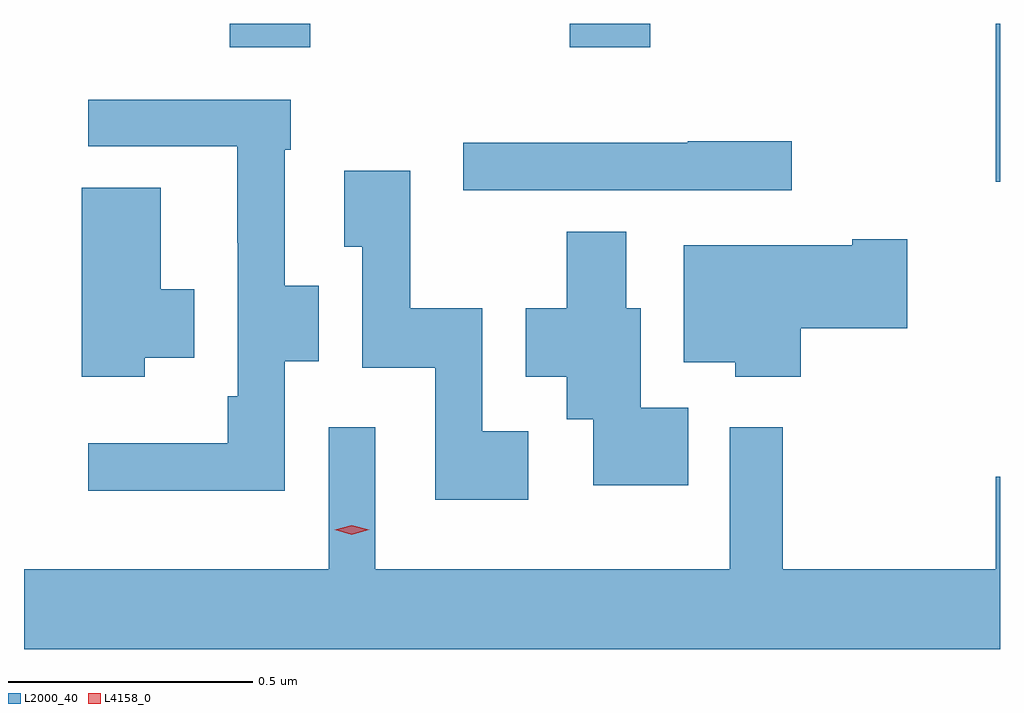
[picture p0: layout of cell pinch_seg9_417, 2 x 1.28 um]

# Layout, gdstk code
import gdstk
lib = gdstk.Library(unit=1e-6, precision=1e-09)
def R(c, l, rs):  # rectangles x0, y0, x1, y1
    for r in rs: c.add(gdstk.rectangle(r[:2], r[2:], *l))
def P(c, l, *ps):  # polygons
    for p in ps: c.add(gdstk.Polygon(p, *l))
L2000_40 = (2000, 40)
L4158_0 = (4158, 0)

pinch_seg9_417 = lib.new_cell('pinch_seg9_417')
R(pinch_seg9_417, L2000_40, [(368.804,1217.358,368.813,1217.681), (367.235,1217.633,367.4,1217.681), (367.931,1217.633,368.096,1217.681)])
P(pinch_seg9_417, L2000_40, [(367.347,1216.99),(367.417,1216.99),(367.417,1217.145),(367.347,1217.145),(367.347,1217.423),(367.36,1217.423),(367.36,1217.526),(366.945,1217.526),(366.945,1217.43),(367.25,1217.43),(367.25,1217.233),(367.251,1217.233),(367.251,1216.918),(367.231,1216.918),(367.231,1216.822),(366.945,1216.822),(366.945,1216.724),(367.347,1216.724)],
  [(368.386,1217.441),(368.173,1217.441),(368.173,1217.438),(367.713,1217.438),(367.713,1217.34),(368.386,1217.34)],
  [(367.846,1216.846),(367.752,1216.846),(367.752,1217.098),(367.605,1217.098),(367.605,1217.38),(367.469,1217.38),(367.469,1217.224),(367.506,1217.224),(367.506,1216.976),(367.656,1216.976),(367.656,1216.706),(367.846,1216.706)],
  [(367.06,1216.997),(367.162,1216.997),(367.162,1217.137),(367.093,1217.137),(367.093,1217.345),(366.931,1217.345),(366.931,1216.958),(367.06,1216.958)],
  [(368.174,1216.894),(368.077,1216.894),(368.077,1217.098),(368.047,1217.098),(368.047,1217.255),(367.925,1217.255),(367.925,1217.098),(367.841,1217.098),(367.841,1216.958),(367.925,1216.958),(367.925,1216.871),(367.98,1216.871),(367.98,1216.736),(368.174,1216.736)],
  [(368.405,1217.057),(368.623,1217.057),(368.623,1217.24),(368.51,1217.24),(368.51,1217.227),(368.165,1217.227),(368.165,1216.988),(368.27,1216.988),(368.27,1216.958),(368.405,1216.958)],
  [(368.813,1216.753),(368.804,1216.753),(368.804,1216.564),(368.368,1216.564),(368.368,1216.855),(368.259,1216.855),(368.259,1216.564),(367.533,1216.564),(367.533,1216.855),(367.437,1216.855),(367.437,1216.564),(366.813,1216.564),(366.813,1216.4),(368.813,1216.4)])
P(pinch_seg9_417, L4158_0, [(367.485,1216.634),(367.45,1216.644),(367.45,1216.644),(367.45,1216.644),(367.485,1216.654),(367.52,1216.644),(367.52,1216.644),(367.52,1216.644)])

lib.write_gds('pinch_seg9_417.gds')
